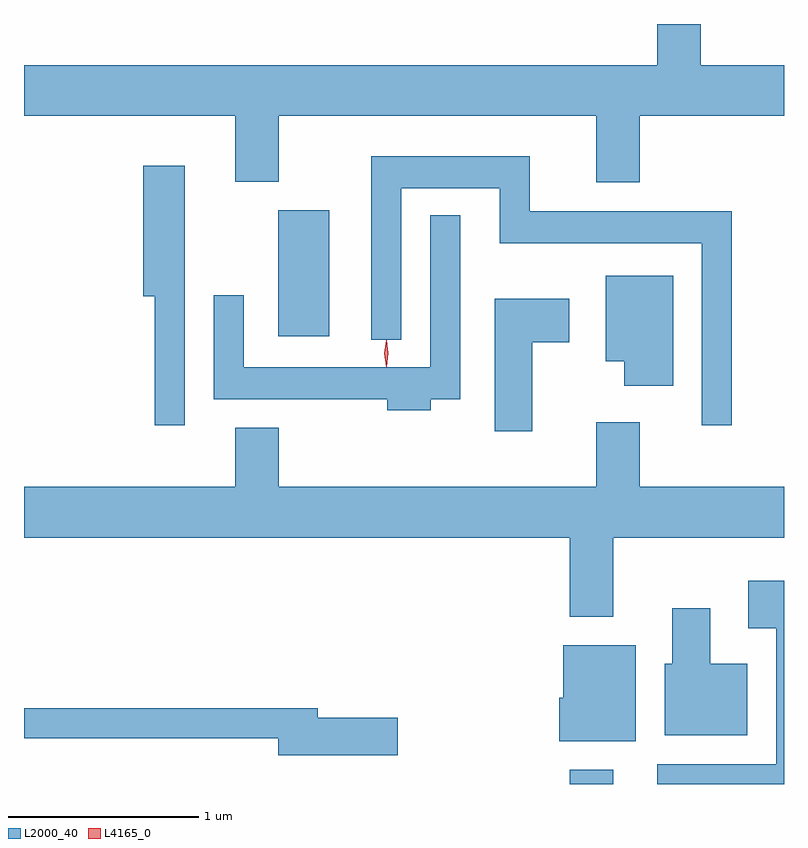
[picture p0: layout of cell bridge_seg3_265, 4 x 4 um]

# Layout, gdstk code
import gdstk
lib = gdstk.Library(unit=1e-6, precision=1e-09)
def R(c, l, rs):  # rectangles x0, y0, x1, y1
    for r in rs: c.add(gdstk.rectangle(r[:2], r[2:], *l))
def P(c, l, *ps):  # polygons
    for p in ps: c.add(gdstk.Polygon(p, *l))
L2000_40 = (2000, 40)
L4165_0 = (4165, 0)

bridge_seg3_265 = lib.new_cell('bridge_seg3_265')
R(bridge_seg3_265, L2000_40, [(1048.561,1133.6,1048.789,1133.674), (1047.026,1135.956,1047.294,1136.619)])
P(bridge_seg3_265, L2000_40, [(1048.929,1137.116),(1049.688,1137.116),(1049.688,1137.384),(1049.249,1137.384),(1049.249,1137.6),(1049.021,1137.6),(1049.021,1137.384),(1045.688,1137.384),(1045.688,1137.116),(1046.801,1137.116),(1046.801,1136.771),(1047.029,1136.771),(1047.029,1137.116),(1048.701,1137.116),(1048.701,1136.766),(1048.929,1136.766)],
  [(1049.414,1136.614),(1048.349,1136.614),(1048.349,1136.904),(1047.516,1136.904),(1047.516,1135.938),(1047.674,1135.938),(1047.674,1136.736),(1048.191,1136.736),(1048.191,1136.446),(1049.256,1136.446),(1049.256,1135.488),(1049.414,1135.488)],
  [(1046.534,1136.854),(1046.316,1136.854),(1046.316,1136.166),(1046.376,1136.166),(1046.376,1135.488),(1046.534,1135.488)],
  [(1047.829,1135.626),(1047.984,1135.626),(1047.984,1136.593),(1047.826,1136.593),(1047.826,1135.794),(1046.844,1135.794),(1046.844,1136.173),(1046.686,1136.173),(1046.686,1135.626),(1047.601,1135.626),(1047.601,1135.566),(1047.829,1135.566)],
  [(1049.104,1136.274),(1048.751,1136.274),(1048.751,1135.826),(1048.846,1135.826),(1048.846,1135.696),(1049.104,1135.696)],
  [(1048.364,1135.926),(1048.559,1135.926),(1048.559,1136.154),(1048.166,1136.154),(1048.166,1135.456),(1048.364,1135.456)],
  [(1048.789,1134.896),(1049.688,1134.896),(1049.688,1135.164),(1048.929,1135.164),(1048.929,1135.504),(1048.701,1135.504),(1048.701,1135.164),(1047.029,1135.164),(1047.029,1135.474),(1046.801,1135.474),(1046.801,1135.164),(1045.688,1135.164),(1045.688,1134.896),(1048.561,1134.896),(1048.561,1134.481),(1048.789,1134.481)],
  [(1049.688,1134.669),(1049.501,1134.669),(1049.501,1134.421),(1049.646,1134.421),(1049.646,1133.704),(1049.021,1133.704),(1049.021,1133.6),(1049.688,1133.6)],
  [(1049.494,1134.234),(1049.299,1134.234),(1049.299,1134.524),(1049.101,1134.524),(1049.101,1134.234),(1049.061,1134.234),(1049.061,1133.856),(1049.494,1133.856)],
  [(1048.909,1134.329),(1048.526,1134.329),(1048.526,1134.054),(1048.506,1134.054),(1048.506,1133.826),(1048.909,1133.826)],
  [(1047.654,1133.949),(1047.234,1133.949),(1047.234,1133.999),(1045.688,1133.999),(1045.688,1133.841),(1047.026,1133.841),(1047.026,1133.751),(1047.654,1133.751)])
P(bridge_seg3_265, L4165_0, [(1047.594,1135.797),(1047.585,1135.866),(1047.594,1135.936),(1047.595,1135.936),(1047.596,1135.936),(1047.605,1135.866),(1047.596,1135.797),(1047.595,1135.797)],
  [(1047.594,1135.799),(1047.594,1135.8),(1047.584,1135.866),(1047.594,1135.932),(1047.594,1135.933),(1047.595,1135.932),(1047.604,1135.866),(1047.595,1135.8)])

lib.write_gds('bridge_seg3_265.gds')
